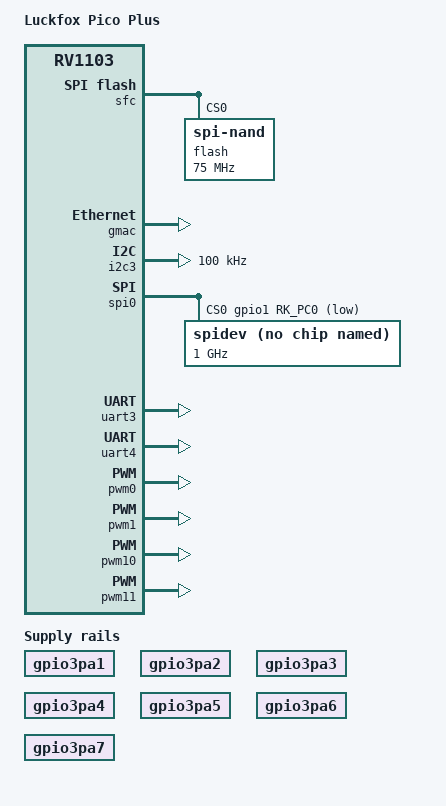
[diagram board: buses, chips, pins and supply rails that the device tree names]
// SPDX-License-Identifier: (GPL-2.0+ OR MIT)
/*
 * Copyright (c) 2022 Rockchip Electronics Co., Ltd.
 */

/dts-v1/;

#include "rv1103.dtsi"
#include "rv1106-evb.dtsi"
#include "rv1103-luckfox-pico-plus-ipc.dtsi"

/ {
	model = "Luckfox Pico Plus";
	compatible = "rockchip,rv1103g-38x38-ipc-v10", "rockchip,rv1103";
	gpio3pa1:gpio3pa1 {
		compatible = "regulator-fixed";
		pinctrl-names = "default";
		pinctrl-0 = <&gpio3_pa1>;
		regulator-name = "gpio3_pa1";
		regulator-always-on;
	};

	gpio3pa2:gpio3pa2 {
		compatible = "regulator-fixed";
		pinctrl-names = "default";
		pinctrl-0 = <&gpio3_pa2>;
		regulator-name = "gpio3_pa2";
		regulator-always-on;
	};

	gpio3pa3:gpio3pa3 {
		compatible = "regulator-fixed";
		pinctrl-names = "default";
		pinctrl-0 = <&gpio3_pa3>;
		regulator-name = "gpio3_pa3";
		regulator-always-on;
	};

	gpio3pa4:gpio3pa4 {
		compatible = "regulator-fixed";
		pinctrl-names = "default";
		pinctrl-0 = <&gpio3_pa4>;
		regulator-name = "gpio3_pa4";
		regulator-always-on;
	};

	gpio3pa5:gpio3pa5 {
		compatible = "regulator-fixed";
		pinctrl-names = "default";
		pinctrl-0 = <&gpio3_pa5>;
		regulator-name = "gpio3_pa5";
		regulator-always-on;
	};

	gpio3pa6:gpio3pa6 {
		compatible = "regulator-fixed";
		pinctrl-names = "default";
		pinctrl-0 = <&gpio3_pa6>;
		regulator-name = "gpio3_pa6";
		regulator-always-on;
	};

	gpio3pa7:gpio3pa7 {
		compatible = "regulator-fixed";
		pinctrl-names = "default";
		pinctrl-0 = <&gpio3_pa7>;
		regulator-name = "gpio3_pa7";
		regulator-always-on;
	};
};
/**********GPIO**********/
&pinctrl {
	gpio3-pa1 {
		gpio3_pa1:gpio3-pa1 {
			rockchip,pins =	<3 RK_PA1 RK_FUNC_GPIO &pcfg_pull_none>;
		};
	};

	gpio3-pa2 {
		gpio3_pa2:gpio3-pa2 {
			rockchip,pins =	<3 RK_PA2 RK_FUNC_GPIO &pcfg_pull_none>;
		};
	};

	gpio3-pa3 {
		gpio3_pa3:gpio3-pa3 {
			rockchip,pins =	<3 RK_PA3 RK_FUNC_GPIO &pcfg_pull_none>;
		};
	};

	gpio3-pa4 {
		gpio3_pa4:gpio3-pa4 {
			rockchip,pins =	<3 RK_PA4 RK_FUNC_GPIO &pcfg_pull_none>;
		};
	};

	gpio3-pa5 {
		gpio3_pa5:gpio3-pa5 {
			rockchip,pins =	<3 RK_PA5 RK_FUNC_GPIO &pcfg_pull_none>;
		};
	};

	gpio3-pa6 {
		gpio3_pa6:gpio3-pa6 {
			rockchip,pins =	<3 RK_PA6 RK_FUNC_GPIO &pcfg_pull_none>;
		};
	};

	gpio3-pa7 {
		gpio3_pa7:gpio3-pa7 {
			rockchip,pins =	<3 RK_PA7 RK_FUNC_GPIO &pcfg_pull_none>;
		};
	};
};

&sfc {
	status = "okay";

	flash@0 {
		compatible = "spi-nand";
		reg = <0>;
		spi-max-frequency = <75000000>;
		spi-rx-bus-width = <4>;
		spi-tx-bus-width = <1>;
	};
};

/**********ETH**********/
&gmac {
	status = "okay";
};

/**********USB**********/
//&usbdrd {
//	status = "disabled";
//};

//&usbdrd_dwc3 {
//	status = "disabled";
//};

//&u2phy {
//	status = "disabled";
//};

//&u2phy_otg {
//	status = "disabled";
//};

/**********I2C**********/
// &i2c0 {
// 	status = "okay";
// 	pinctrl-0 = <&i2c0m2_xfer>;
// 	clock-frequency = <100000>;
// };
&i2c3 {
	status = "okay";
	pinctrl-0 = <&i2c3m1_xfer>;
	clock-frequency = <100000>;
};

/**********SPI**********/
&spi0 {
	status = "okay";
	pinctrl-names = "default";
	pinctrl-0 = <&spi0m0_pins>;
	cs-gpios = <&gpio1 RK_PC0 1>;
	// cs-gpios = <&gpio1 26 1>;
	#address-cells = <1>;
	#size-cells = <0>;
	spidev@0 {
		compatible = "rockchip,spidev";
		spi-max-frequency = <1000000000>;
		reg = <0>;
	};
};

/**********UART**********/
&uart3 {
	status = "okay";
	pinctrl-names = "default";
	pinctrl-0 = <&uart3m1_xfer>;
};
&uart4 {
	status = "okay";
	pinctrl-names = "default";
	pinctrl-0 = <&uart4m1_xfer>;
};
//&uart5 {
//	status = "okay";
//	pinctrl-names = "default";
//	pinctrl-0 = <&uart5m0_xfer>;
//};

/**********PWM**********/

&pwm0 {
	status = "okay";
	pinctrl-names = "active";
	pinctrl-0 = <&pwm0m0_pins>;
	// pinctrl-0 = <&pwm0m1_pins>;
};
&pwm1 {
	status = "okay";
	pinctrl-names = "active";
	pinctrl-0 = <&pwm1m0_pins>;
	// pinctrl-0 = <&pwm1m1_pins>;
};

//&pwm2 {
//	status = "okay";
//	pinctrl-names = "active";
//	pinctrl-0 = <&pwm2m2_pins>;
//};
//&pwm3 {
//	status = "okay";
//	pinctrl-names = "active";
//	pinctrl-0 = <&pwm3m2_pins>;
//};
//&pwm4 {
//	status = "okay";
//	pinctrl-names = "active";
//	pinctrl-0 = <&pwm4m2_pins>;
//};
//&pwm5 {
//	status = "okay";
//	pinctrl-names = "active";
//	pinctrl-0 = <&pwm5m2_pins>;
//};
//&pwm6 {
//	status = "okay";
//	pinctrl-names = "active";
//	pinctrl-0 = <&pwm6m2_pins>;
//};
//&pwm7 {
//	status = "okay";
//	pinctrl-names = "active";
//	pinctrl-0 = <&pwm7m2_pins>;
//};
//&pwm8 {
//	status = "okay";
//	pinctrl-names = "active";
//	// pinctrl-0 = <&pwm8m1_pins>;
//	pinctrl-0 = <&pwm8m0_pins>;
//};
//&pwm9 {
//	status = "okay";
//	pinctrl-names = "active";
//	// pinctrl-0 = <&pwm9m1_pins>;
//	pinctrl-0 = <&pwm9m0_pins>;
//};

&pwm10 {
	status = "okay";
	pinctrl-names = "active";
	pinctrl-0 = <&pwm10m1_pins>;
	// pinctrl-0 = <&pwm10m2_pins>;
	// pinctrl-0 = <&pwm10m0_pins>;
};
&pwm11 {
	status = "okay";
	pinctrl-names = "active";
	pinctrl-0 = <&pwm11m1_pins>;
	// pinctrl-0 = <&pwm11m2_pins>;
	// pinctrl-0 = <&pwm11m0_pins>;
};



